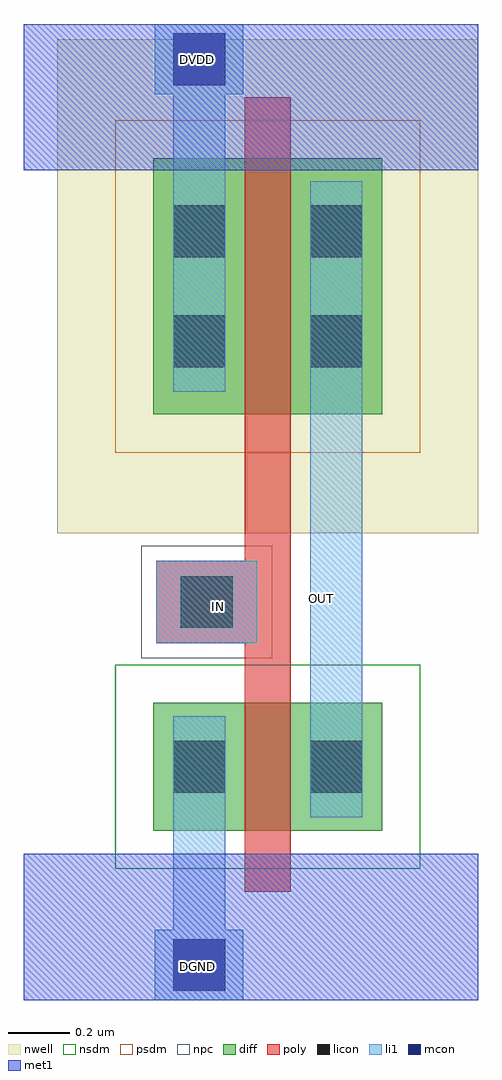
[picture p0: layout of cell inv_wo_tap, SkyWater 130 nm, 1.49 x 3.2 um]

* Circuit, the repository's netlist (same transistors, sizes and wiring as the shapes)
** sch_path: /home/ee24s053/ee5311-2025/tut5/inv/prim/inv.sch
.subckt inv DVDD OUT IN DGND
*.PININFO DVDD:B DGND:B OUT:O IN:I
XM1 OUT IN DVDD DVDD sky130_fd_pr__pfet_01v8 L=0.15 W=0.84 nf=1 m=1
XM2 OUT IN DGND DGND sky130_fd_pr__nfet_01v8 L=0.15 W=0.42 nf=1 m=1
.ends
.end

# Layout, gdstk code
import gdstk
lib = gdstk.Library(unit=1e-6, precision=1e-09)
def R(c, l, rs):  # rectangles x0, y0, x1, y1
    for r in rs: c.add(gdstk.rectangle(r[:2], r[2:], *l))
nwell = (64, 20)
diff = (65, 20)
poly = (66, 20)
licon = (66, 44)
li1 = (67, 20)
mcon = (67, 44)
met1 = (68, 20)
nsdm = (93, 44)
psdm = (94, 20)
npc = (95, 20)

pfet_1 = lib.new_cell('pfet$1')
R(pfet_1, nwell, [(-0.315,-0.39,1.065,1.23)])
R(pfet_1, diff, [(0,0,0.75,0.84)])
R(pfet_1, poly, [(0.3,-0.2,0.45,1.04)])
R(pfet_1, licon, [(0.065,0.155,0.235,0.325), (0.515,0.155,0.685,0.325), (0.065,0.515,0.235,0.685), (0.515,0.515,0.685,0.685)])
R(pfet_1, li1, [(0.065,0.075,0.235,0.765), (0.515,0.075,0.685,0.765)])
R(pfet_1, psdm, [(-0.125,-0.125,0.875,0.965)])

nfet = lib.new_cell('nfet')
R(nfet, diff, [(0,0,0.75,0.42)])
R(nfet, poly, [(0.3,-0.2,0.45,0.62)])
R(nfet, licon, [(0.065,0.125,0.235,0.295), (0.515,0.125,0.685,0.295)])
R(nfet, li1, [(0.065,0.045,0.235,0.375), (0.515,0.045,0.685,0.375)])
R(nfet, nsdm, [(-0.125,-0.125,0.875,0.545)])

vias_gen_2 = lib.new_cell('vias_gen$2')
R(vias_gen_2, poly, [(0,0,0.33,0.27)])
R(vias_gen_2, licon, [(0.08,0.05,0.25,0.22)])
R(vias_gen_2, li1, [(0,0,0.33,0.27)])
R(vias_gen_2, npc, [(-0.05,-0.05,0.38,0.32)])

vias_gen_5 = lib.new_cell('vias_gen$5')
R(vias_gen_5, li1, [(0,0,0.29,0.23)])
R(vias_gen_5, mcon, [(0.06,0.03,0.23,0.2)])
R(vias_gen_5, met1, [(0,0,0.29,0.23)])

inv_wo_tap = lib.new_cell('inv_wo_tap')
R(inv_wo_tap, poly, [(-1.775,0.425,-1.625,0.97)])
R(inv_wo_tap, li1, [(-2.01,-0.75,-1.84,-0.15), (-1.56,0.18,-1.39,1.245), (-2.01,1.935,-1.84,2.45)])
R(inv_wo_tap, met1, [(-2.5,-0.75,-1.01,-0.27), (-2.5,1.97,-1.01,2.45)])
inv_wo_tap.add(gdstk.Reference(pfet_1, (-2.075,1.17)))
inv_wo_tap.add(gdstk.Reference(nfet, (-2.075,-0.195)))
inv_wo_tap.add(gdstk.Reference(vias_gen_2, (-2.065,0.42)))
inv_wo_tap.add(gdstk.Reference(vias_gen_5, (-2.07,2.22)))
inv_wo_tap.add(gdstk.Reference(vias_gen_5, (-2.07,-0.75)))
inv_wo_tap.add(gdstk.Label('IN', (-1.86,0.54), layer=67, texttype=5))
inv_wo_tap.add(gdstk.Label('OUT', (-1.525,0.565), layer=67, texttype=5))
inv_wo_tap.add(gdstk.Label('DVDD', (-1.93,2.335), layer=68, texttype=5))
inv_wo_tap.add(gdstk.Label('DGND', (-1.93,-0.64), layer=68, texttype=5))

lib.write_gds('inv_wo_tap.gds')
